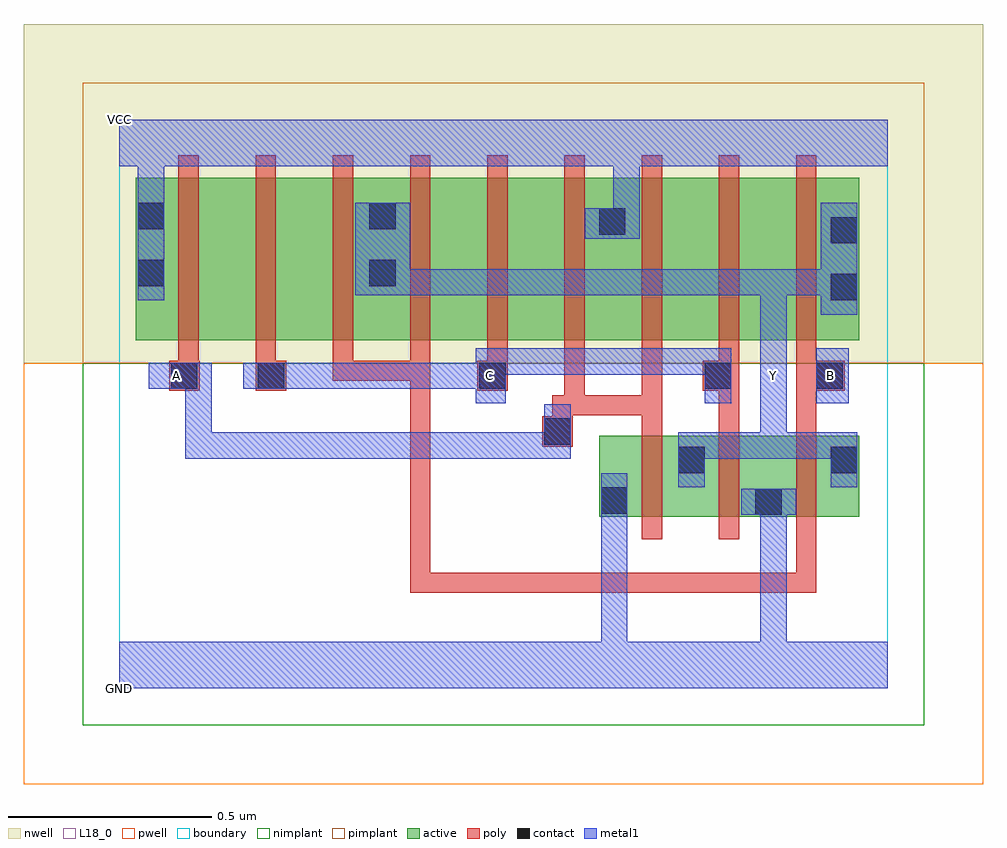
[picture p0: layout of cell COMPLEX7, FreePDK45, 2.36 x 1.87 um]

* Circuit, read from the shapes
.subckt COMPLEX7 A B C GND VCC Y
M1 Y A GND VSUBS nfet w=0.2u l=0.05u
M2 GND C Y VSUBS nfet w=0.2u l=0.05u
M3 Y B GND VSUBS nfet w=0.2u l=0.05u
M4 n1 A VCC n2 pfet w=0.4u l=0.05u
M5 n3 C n1 n2 pfet w=0.4u l=0.05u
M6 Y B n3 n2 pfet w=0.4u l=0.05u
M7 n4 B Y n2 pfet w=0.4u l=0.05u
M8 n5 C n4 n2 pfet w=0.4u l=0.05u
M9 VCC A n5 n2 pfet w=0.4u l=0.05u
M10 n6 A VCC n2 pfet w=0.4u l=0.05u
M11 n7 C n6 n2 pfet w=0.4u l=0.05u
M12 Y B n7 n2 pfet w=0.4u l=0.05u
.ends

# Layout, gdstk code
import gdstk
lib = gdstk.Library(unit=1e-6, precision=1e-09)
def R(c, l, rs):  # rectangles x0, y0, x1, y1
    for r in rs: c.add(gdstk.rectangle(r[:2], r[2:], *l))
def A(c, l, x, y, w, h, nx, ny, dx, dy):  # array of equal rectangles
    R(c, l, [(x+i*dx, y+j*dy, x+i*dx+w, y+j*dy+h) for i in range(nx) for j in range(ny)])
active = (1, 0)
pwell = (2, 0)
nwell = (3, 0)
nimplant = (4, 0)
pimplant = (5, 0)
poly = (9, 0)
contact = (10, 0)
metal1 = (11, 0)
L18_0 = (18, 0)
boundary = (235, 0)

complex7 = lib.new_cell('COMPLEX7')
A(complex7, active, 0.265, 0.857, 0.19, 0.4, 3, 1, 0.57, 0)
R(complex7, active, [(1.18,0.422,1.445,0.622), (1.18,0.422,1.255,0.622), (1.37,0.422,1.635,0.622), (1.37,0.422,1.445,0.6), (1.56,0.422,1.82,0.622), (1.56,0.422,1.635,0.562), (1.745,0.525,1.82,0.622), (0.04,0.857,0.265,1.257), (0.04,0.857,0.115,1.257), (0.455,0.857,0.685,1.257), (0.61,0.857,0.835,1.257), (1.025,0.857,1.25,1.257), (1.175,0.857,1.405,1.257), (1.595,0.857,1.82,1.257), (1.745,0.857,1.82,1.2), (0.61,0.907,0.685,1.2), (1.175,0.907,1.25,1.255)])
R(complex7, pwell, [(-0.235,-0.235,2.125,0.8)])
R(complex7, nwell, [(-0.235,0.8,2.125,1.635)])
R(complex7, nimplant, [(-0.09,-0.09,1.98,0.8)])
R(complex7, pimplant, [(-0.09,0.8,1.98,1.49)])
A(complex7, poly, 1.285, 0.367, 0.05, 0.31, 3, 1, 0.19, 0)
A(complex7, poly, 0.145, 0.757, 0.05, 0.095, 5, 1, 0.19, 0)
A(complex7, poly, 0.145, 0.802, 0.05, 0.51, 9, 1, 0.19, 0)
R(complex7, poly, [(0.715,0.235,0.765,0.285), (0.715,0.235,0.765,0.285), (0.715,0.235,0.765,0.285), (0.715,0.235,0.765,0.285), (0.715,0.235,0.765,0.285), (0.715,0.235,0.897,0.285), (0.715,0.235,0.765,0.807), (0.847,0.235,0.897,0.285), (0.847,0.235,0.897,0.285), (0.847,0.235,0.897,0.285), (0.847,0.235,1.03,0.285), (0.98,0.235,1.03,0.285), (0.98,0.235,1.162,0.285), (1.112,0.235,1.162,0.285), (1.112,0.235,1.162,0.285), (1.112,0.235,1.162,0.285), (1.112,0.235,1.352,0.285), (1.302,0.235,1.352,0.285), (1.302,0.235,1.352,0.285), (1.302,0.235,1.352,0.285), (1.302,0.235,1.485,0.285), (1.435,0.235,1.485,0.285), (1.435,0.235,1.715,0.285), (1.665,0.235,1.715,0.417), (1.665,0.235,1.715,0.285), (1.665,0.235,1.715,0.285), (1.665,0.235,1.715,0.285), (1.04,0.595,1.115,0.67), (1.065,0.62,1.115,0.722), (1.285,0.627,1.335,0.722), (1.475,0.627,1.525,0.782), (1.665,0.627,1.715,0.782), (1.065,0.672,1.115,0.722), (1.065,0.672,1.115,0.722), (1.065,0.672,1.162,0.722), (1.095,0.672,1.145,0.852), (1.112,0.672,1.162,0.722), (1.112,0.672,1.162,0.722), (1.112,0.672,1.335,0.722), (1.285,0.672,1.335,0.722), (1.285,0.672,1.335,0.852), (0.122,0.732,0.197,0.807), (0.335,0.732,0.41,0.807), (0.88,0.732,0.955,0.807), (1.435,0.732,1.525,0.807), (1.665,0.732,1.785,0.807), (0.525,0.757,0.575,0.807), (0.525,0.757,0.765,0.807), (0.715,0.757,0.765,0.807), (0.715,0.757,0.765,0.807), (0.715,0.757,0.765,0.807), (1.475,0.757,1.525,0.852), (1.665,0.757,1.715,0.852)])
R(complex7, contact, [(1.565,0.427,1.63,0.492), (1.185,0.43,1.25,0.495), (1.375,0.53,1.44,0.595), (1.75,0.53,1.815,0.595), (1.045,0.6,1.11,0.665), (0.127,0.737,0.192,0.802), (0.34,0.737,0.405,0.802), (0.885,0.737,0.95,0.802), (1.44,0.737,1.505,0.802), (1.715,0.737,1.78,0.802), (1.75,0.955,1.815,1.02), (0.045,0.99,0.11,1.055), (0.615,0.99,0.68,1.055), (1.75,1.095,1.815,1.16), (1.18,1.117,1.245,1.182), (0.045,1.13,0.11,1.195), (0.615,1.13,0.68,1.195)])
R(complex7, metal1, [(0,0,1.89,0.115), (1.185,0.05,1.25,0.46), (1.577,0.05,1.642,0.115), (1.577,0.05,1.642,0.115), (1.577,0.05,1.642,0.492), (1.185,0.395,1.25,0.46), (1.185,0.395,1.25,0.46), (1.185,0.395,1.25,0.46), (1.185,0.395,1.25,0.46), (1.185,0.395,1.25,0.46), (1.185,0.395,1.25,0.46), (1.185,0.395,1.25,0.46), (1.185,0.395,1.25,0.46), (1.185,0.395,1.25,0.53), (1.53,0.427,1.665,0.492), (1.577,0.427,1.642,0.492), (1.577,0.427,1.642,0.492), (1.577,0.427,1.642,0.492), (1.577,0.427,1.642,0.492), (1.577,0.427,1.642,0.492), (1.577,0.427,1.642,0.492), (1.375,0.495,1.44,0.63), (1.75,0.495,1.815,0.63), (0.162,0.565,0.227,0.63), (0.162,0.565,0.365,0.63), (0.162,0.565,0.227,0.802), (0.3,0.565,0.365,0.63), (0.3,0.565,0.512,0.63), (0.447,0.565,0.512,0.63), (0.447,0.565,0.577,0.63), (0.512,0.565,0.577,0.63), (0.512,0.565,0.797,0.63), (0.732,0.565,0.797,0.63), (0.732,0.565,0.797,0.63), (0.732,0.565,0.797,0.63), (0.732,0.565,0.935,0.63), (0.87,0.565,0.935,0.63), (0.87,0.565,0.935,0.63), (0.87,0.565,0.935,0.63), (0.87,0.565,1.072,0.63), (1.007,0.565,1.072,0.63), (1.007,0.565,1.072,0.63), (1.007,0.565,1.072,0.63), (1.007,0.565,1.11,0.63), (1.045,0.565,1.11,0.7), (1.375,0.565,1.542,0.63), (1.477,0.565,1.542,0.63), (1.477,0.565,1.642,0.63), (1.577,0.565,1.642,0.63), (1.577,0.565,1.815,0.63), (1.577,0.565,1.642,0.767), (1.75,0.565,1.815,0.63), (1.75,0.565,1.815,0.63), (0.877,0.702,0.95,0.837), (1.44,0.702,1.505,0.837), (1.577,0.702,1.642,0.837), (1.715,0.702,1.795,0.837), (0.072,0.737,0.227,0.802), (0.162,0.737,0.227,0.802), (0.162,0.737,0.227,0.802), (0.305,0.737,0.44,0.802), (0.375,0.737,0.44,0.802), (0.375,0.737,0.44,0.802), (0.375,0.737,0.577,0.802), (0.512,0.737,0.577,0.802), (0.512,0.737,0.732,0.802), (0.667,0.737,0.732,0.802), (0.667,0.737,0.732,0.802), (0.667,0.737,0.732,0.802), (0.667,0.737,0.935,0.802), (0.87,0.737,0.935,0.802), (0.87,0.737,0.942,0.802), (0.885,0.772,1.072,0.837), (1.007,0.772,1.072,0.837), (1.007,0.772,1.21,0.837), (1.145,0.772,1.21,0.837), (1.145,0.772,1.21,0.837), (1.145,0.772,1.21,0.837), (1.145,0.772,1.367,0.837), (1.302,0.772,1.367,0.837), (1.302,0.772,1.457,0.837), (1.392,0.772,1.457,0.837), (1.392,0.772,1.505,0.837), (1.577,0.772,1.642,1.032), (1.725,0.92,1.815,1.195), (0.045,0.955,0.11,1.23), (0.58,0.967,0.715,1.195), (0.65,0.967,0.715,1.032), (0.65,0.967,0.715,1.032), (0.65,0.967,0.935,1.032), (0.87,0.967,0.935,1.032), (0.87,0.967,0.935,1.032), (0.87,0.967,0.935,1.032), (0.87,0.967,1.072,1.032), (1.007,0.967,1.072,1.032), (1.007,0.967,1.23,1.032), (1.165,0.967,1.23,1.032), (1.165,0.967,1.23,1.032), (1.165,0.967,1.23,1.032), (1.165,0.967,1.367,1.032), (1.302,0.967,1.367,1.032), (1.302,0.967,1.367,1.032), (1.302,0.967,1.367,1.032), (1.302,0.967,1.642,1.032), (1.577,0.967,1.642,1.032), (1.577,0.967,1.642,1.032), (1.577,0.967,1.642,1.032), (1.577,0.967,1.79,1.032), (1.725,0.967,1.79,1.032), (1.725,0.967,1.79,1.032), (1.145,1.107,1.28,1.182), (1.215,1.117,1.28,1.35), (0.045,1.165,0.11,1.35), (0,1.285,1.89,1.4)])
R(complex7, L18_0, [(0,0,1.89,0.115), (1.185,0.05,1.25,0.46), (1.577,0.05,1.642,0.115), (1.577,0.05,1.642,0.115), (1.577,0.05,1.642,0.492), (1.185,0.395,1.25,0.46), (1.185,0.395,1.25,0.46), (1.185,0.395,1.25,0.46), (1.185,0.395,1.25,0.46), (1.185,0.395,1.25,0.46), (1.185,0.395,1.25,0.46), (1.185,0.395,1.25,0.46), (1.185,0.395,1.25,0.46), (1.185,0.395,1.25,0.53), (1.53,0.427,1.665,0.492), (1.577,0.427,1.642,0.492), (1.577,0.427,1.642,0.492), (1.577,0.427,1.642,0.492), (1.577,0.427,1.642,0.492), (1.577,0.427,1.642,0.492), (1.577,0.427,1.642,0.492), (1.375,0.495,1.44,0.63), (1.75,0.495,1.815,0.63), (0.162,0.565,0.227,0.63), (0.162,0.565,0.227,0.802), (0.162,0.565,0.365,0.63), (0.3,0.565,0.365,0.63), (0.3,0.565,0.512,0.63), (0.447,0.565,0.512,0.63), (0.447,0.565,0.577,0.63), (0.512,0.565,0.577,0.63), (0.512,0.565,0.797,0.63), (0.732,0.565,0.797,0.63), (0.732,0.565,0.797,0.63), (0.732,0.565,0.797,0.63), (0.732,0.565,0.935,0.63), (0.87,0.565,0.935,0.63), (0.87,0.565,0.935,0.63), (0.87,0.565,0.935,0.63), (0.87,0.565,1.072,0.63), (1.007,0.565,1.072,0.63), (1.007,0.565,1.072,0.63), (1.007,0.565,1.072,0.63), (1.007,0.565,1.11,0.63), (1.045,0.565,1.11,0.7), (1.375,0.565,1.542,0.63), (1.477,0.565,1.542,0.63), (1.477,0.565,1.642,0.63), (1.577,0.565,1.642,0.63), (1.577,0.565,1.642,0.767), (1.577,0.565,1.815,0.63), (1.75,0.565,1.815,0.63), (1.75,0.565,1.815,0.63), (0.877,0.702,0.95,0.837), (1.44,0.702,1.505,0.837), (1.577,0.702,1.642,0.837), (1.715,0.702,1.795,0.837), (0.072,0.737,0.227,0.802), (0.107,0.737,0.172,0.802), (0.162,0.737,0.227,0.802), (0.162,0.737,0.227,0.802), (0.305,0.737,0.44,0.802), (0.375,0.737,0.44,0.802), (0.375,0.737,0.44,0.802), (0.375,0.737,0.577,0.802), (0.512,0.737,0.577,0.802), (0.512,0.737,0.732,0.802), (0.667,0.737,0.732,0.802), (0.667,0.737,0.732,0.802), (0.667,0.737,0.732,0.802), (0.667,0.737,0.935,0.802), (0.87,0.737,0.935,0.802), (0.87,0.737,0.942,0.802), (0.877,0.737,0.942,0.802), (1.577,0.737,1.642,0.802), (1.717,0.737,1.782,0.802), (0.885,0.772,1.072,0.837), (1.007,0.772,1.072,0.837), (1.007,0.772,1.21,0.837), (1.145,0.772,1.21,0.837), (1.145,0.772,1.21,0.837), (1.145,0.772,1.21,0.837), (1.145,0.772,1.367,0.837), (1.302,0.772,1.457,0.837), (1.302,0.772,1.367,0.837), (1.392,0.772,1.457,0.837), (1.392,0.772,1.505,0.837), (1.577,0.772,1.642,1.032), (1.725,0.92,1.815,1.195), (0.045,0.955,0.11,1.23), (0.58,0.967,0.715,1.195), (0.65,0.967,0.715,1.032), (0.65,0.967,0.715,1.032), (0.65,0.967,0.935,1.032), (0.87,0.967,0.935,1.032), (0.87,0.967,0.935,1.032), (0.87,0.967,0.935,1.032), (0.87,0.967,1.072,1.032), (1.007,0.967,1.072,1.032), (1.007,0.967,1.23,1.032), (1.165,0.967,1.23,1.032), (1.165,0.967,1.23,1.032), (1.165,0.967,1.23,1.032), (1.165,0.967,1.367,1.032), (1.302,0.967,1.367,1.032), (1.302,0.967,1.367,1.032), (1.302,0.967,1.367,1.032), (1.302,0.967,1.642,1.032), (1.577,0.967,1.642,1.032), (1.577,0.967,1.642,1.032), (1.577,0.967,1.642,1.032), (1.577,0.967,1.79,1.032), (1.725,0.967,1.79,1.032), (1.725,0.967,1.79,1.032), (1.145,1.107,1.28,1.182), (1.215,1.117,1.28,1.35), (0.045,1.165,0.11,1.35), (0,1.285,1.89,1.4)])
R(complex7, boundary, [(0,0,1.89,1.4)])
complex7.add(gdstk.Label('A', (0.14,0.77), layer=11, texttype=0))
complex7.add(gdstk.Label('B', (1.75,0.77), layer=11, texttype=0))
complex7.add(gdstk.Label('C', (0.91,0.77), layer=11, texttype=0))
complex7.add(gdstk.Label('Y', (1.61,0.77), layer=11, texttype=0))
complex7.add(gdstk.Label('VCC', (0,1.4), layer=11, texttype=0))
complex7.add(gdstk.Label('GND', (0,0), layer=11, texttype=0))

lib.write_gds('COMPLEX7.gds')
